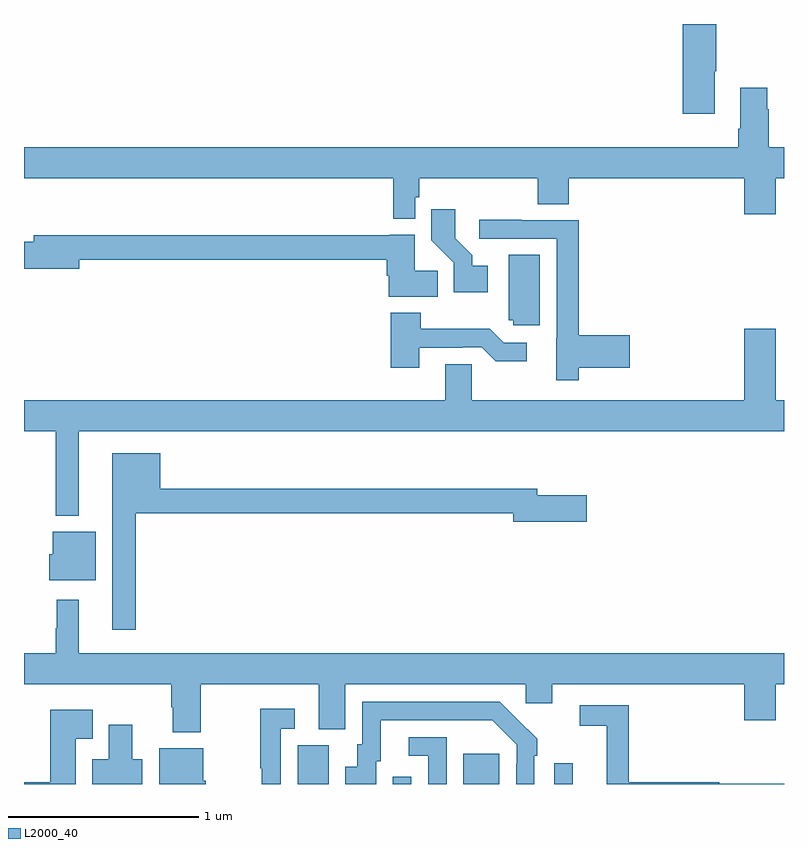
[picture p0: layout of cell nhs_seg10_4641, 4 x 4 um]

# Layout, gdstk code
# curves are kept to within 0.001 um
import gdstk
lib = gdstk.Library(unit=1e-6, precision=1e-09)
def R(c, l, rs):  # rectangles x0, y0, x1, y1
    for r in rs: c.add(gdstk.rectangle(r[:2], r[2:], *l))
def P(c, l, *ps):  # polygons
    for p in ps: c.add(gdstk.Polygon(p, *l))
L2000_40 = (2000, 40)

nhs_seg10_4641 = lib.new_cell('nhs_seg10_4641')
R(nhs_seg10_4641, L2000_40, [(378.44,1258.5,378.604,1258.704), (378.942,1258.5,379.038,1258.537), (379.313,1258.5,379.501,1258.66), (379.791,1258.5,379.887,1258.609)])
P(nhs_seg10_4641, L2000_40, [(380.635,1262.251),(380.643,1262.251),(380.643,1262.5),(380.468,1262.5),(380.468,1262.028),(380.635,1262.028)],
  [(379.059,1261.587),(379.079,1261.587),(379.079,1261.688),(379.703,1261.688),(379.703,1261.552),(379.868,1261.552),(379.868,1261.688),(380.792,1261.688),(380.792,1261.5),(380.956,1261.5),(380.956,1261.688),(381,1261.688),(381,1261.852),(380.919,1261.852),(380.919,1262.051),(380.911,1262.051),(380.911,1262.164),(380.771,1262.164),(380.771,1261.948),(380.759,1261.948),(380.759,1261.852),(377,1261.852),(377,1261.688),(378.943,1261.688),(378.943,1261.475),(379.059,1261.475)],
  [(379.441,1261.228),(379.36,1261.228),(379.36,1261.283),(379.27,1261.373),(379.27,1261.525),(379.144,1261.525),(379.144,1261.362),(379.263,1261.243),(379.263,1261.088),(379.441,1261.088)],
  [(379.919,1260.692),(380.188,1260.692),(380.188,1260.863),(379.919,1260.863),(379.919,1261.467),(379.619,1261.467),(379.619,1261.47),(379.395,1261.47),(379.395,1261.371),(379.803,1261.371),(379.803,1260.846),(379.802,1260.846),(379.802,1260.624),(379.919,1260.624)],
  [(379.178,1261.202),(379.057,1261.202),(379.057,1261.39),(378.924,1261.39),(378.924,1261.387),(377.051,1261.387),(377.051,1261.353),(377,1261.353),(377,1261.211),(377.29,1261.211),(377.29,1261.258),(378.908,1261.258),(378.908,1261.175),(378.92,1261.175),(378.92,1261.064),(379.178,1261.064)],
  [(379.714,1261.286),(379.55,1261.286),(379.55,1260.942),(379.575,1260.942),(379.575,1260.915),(379.714,1260.915)],
  [(379.081,1260.795),(379.31,1260.795),(379.31,1260.798),(379.41,1260.798),(379.483,1260.725),(379.645,1260.725),(379.645,1260.822),(379.524,1260.822),(379.451,1260.895),(379.089,1260.895),(379.089,1260.979),(378.929,1260.979),(378.929,1260.69),(379.081,1260.69)],
  [(377.287,1260.356),(381,1260.356),(381,1260.52),(380.956,1260.52),(380.956,1260.895),(380.792,1260.895),(380.792,1260.52),(379.356,1260.52),(379.356,1260.71),(379.217,1260.71),(379.217,1260.52),(377,1260.52),(377,1260.356),(377.166,1260.356),(377.166,1259.912),(377.287,1259.912)],
  [(377.587,1259.926),(379.574,1259.926),(379.574,1259.879),(379.963,1259.879),(379.963,1260.021),(379.702,1260.021),(379.702,1260.055),(377.716,1260.055),(377.716,1260.241),(377.465,1260.241),(377.465,1259.313),(377.587,1259.313)],
  [(377.377,1259.827),(377.15,1259.827),(377.15,1259.709),(377.132,1259.709),(377.132,1259.573),(377.377,1259.573)],
  [(377.931,1259.024),(378.551,1259.024),(378.551,1258.789),(378.691,1258.789),(378.691,1259.024),(379.641,1259.024),(379.641,1258.926),(379.78,1258.926),(379.78,1259.024),(380.792,1259.024),(380.792,1258.836),(380.956,1258.836),(380.956,1259.024),(381,1259.024),(381,1259.188),(377.287,1259.188),(377.287,1259.47),(377.173,1259.47),(377.173,1259.321),(377.166,1259.321),(377.166,1259.188),(377,1259.188),(377,1259.024),(377.776,1259.024),(377.776,1258.904),(377.783,1258.904),(377.783,1258.772),(377.931,1258.772)],
  [(378.853,1258.62),(378.877,1258.62),(378.877,1258.836),(379.465,1258.836),(379.593,1258.707),(379.593,1258.607),(379.59,1258.607),(379.59,1258.5),(379.686,1258.5),(379.686,1258.649),(379.701,1258.649),(379.701,1258.737),(379.504,1258.932),(378.78,1258.932),(378.78,1258.71),(378.755,1258.71),(378.755,1258.591),(378.692,1258.591),(378.692,1258.5),(378.853,1258.5)],
  [(381,1258.501),(380.66,1258.501),(380.66,1258.508),(380.183,1258.508),(380.183,1258.914),(379.926,1258.914),(379.926,1258.806),(380.066,1258.806),(380.066,1258.5),(381,1258.5)],
  [(378.351,1258.791),(378.424,1258.791),(378.424,1258.897),(378.243,1258.897),(378.243,1258.584),(378.25,1258.584),(378.25,1258.5),(378.351,1258.5)],
  [(377.272,1258.739),(377.362,1258.739),(377.362,1258.891),(377.138,1258.891),(377.138,1258.508),(377,1258.508),(377,1258.5),(377.272,1258.5)],
  [(377.623,1258.63),(377.569,1258.63),(377.569,1258.813),(377.447,1258.813),(377.447,1258.63),(377.36,1258.63),(377.36,1258.5),(377.623,1258.5)],
  [(379.224,1258.746),(379.026,1258.746),(379.026,1258.65),(379.128,1258.65),(379.128,1258.5),(379.224,1258.5)],
  [(377.956,1258.518),(377.944,1258.518),(377.944,1258.687),(377.711,1258.687),(377.711,1258.5),(377.956,1258.5)])

lib.write_gds('nhs_seg10_4641.gds')
